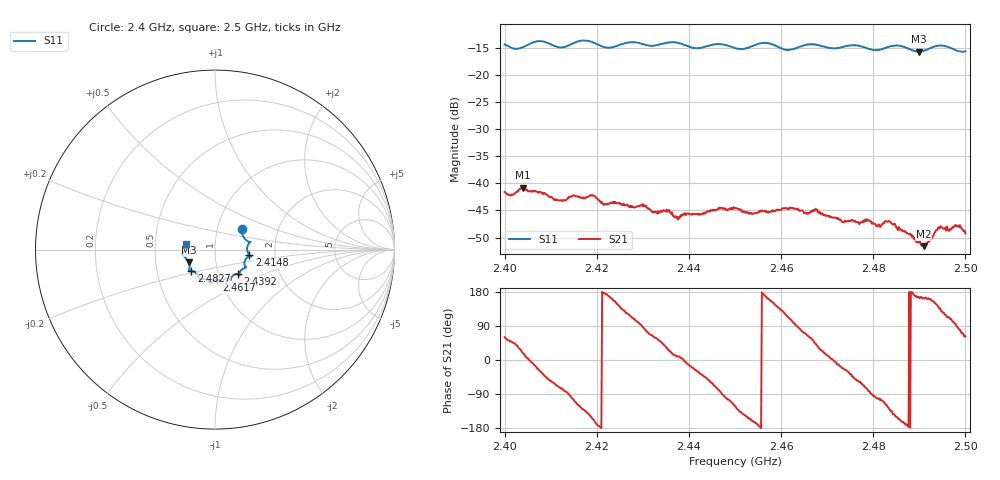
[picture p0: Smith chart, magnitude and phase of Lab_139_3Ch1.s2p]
# Hz S RI R 50
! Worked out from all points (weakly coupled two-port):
!   601 points, 2.4 GHz to 2.5 GHz, reference 50 ohm
!   highest |S21| = -40.83 dB at 2.404 GHz (marker M1); lowest = -51.6 dB at 2.491 GHz (marker M2)
!   lowest |S11| = -15.7 dB at 2.4898 GHz (marker M3), VSWR 1.39, Z = 36.9 - j5.38 ohm
!   |S11| at or under -10 dB: start of sweep to end of sweep
!   S12 and S22 are empty: the file has one direction only
!   S11 on the Smith chart (normalised r, x): 2.4 GHz: 1.31, +0.31; 2.4148 GHz: 1.47, -0.10; 2.4392 GHz: 1.24, -0.35; 2.4617 GHz: 0.96, -0.33; 2.4827 GHz: 0.75, -0.18; 2.5 GHz: 0.72, +0.05
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2.4e9  0.1514 0.1155  0.00413 0.00723  0 0  0 0
2.404e9  0.1712 0.0549  0.00863 0.00283  0 0  0 0
2.407667e9  0.1995 0.0434  0.00724 -0.00415  0 0  0 0
2.412e9  0.1786 0.00735  0.00207 -0.00664  0 0  0 0
2.414833e9  0.192 -0.0312  -0.00168 -0.00751  0 0  0 0
2.416667e9  0.2028 -0.0393  -0.0044 -0.00585  0 0  0 0
2.419167e9  0.1957 -0.0363  -0.0071 -0.00316  0 0  0 0
2.422333e9  0.1671 -0.0598  -0.00643 0.00105  0 0  0 0
2.433333e9  0.137 -0.1302  0.00328 0.00446  0 0  0 0
2.439167e9  0.1284 -0.1363  0.00523 -0.000368  0 0  0 0
2.45e9  0.071 -0.1616  -0.00312 -0.00506  0 0  0 0
2.456667e9  0.0436 -0.1918  -0.00529 0.00124  0 0  0 0
2.461667e9  0.00837 -0.1691  -0.00215 0.00534  0 0  0 0
2.466667e9  -0.0262 -0.1895  0.00311 0.00451  0 0  0 0
2.473667e9  -0.0768 -0.1648  0.004 -0.0018  0 0  0 0
2.482667e9  -0.132 -0.1176  -0.00208 -0.00396  0 0  0 0
2.483333e9  -0.1378 -0.117  -0.00266 -0.00362  0 0  0 0
2.489833e9  -0.1469 -0.071  -0.00281 0.000664  0 0  0 0
2.491e9  -0.1573 -0.0543  -0.00252 0.000753  0 0  0 0
2.4945e9  -0.1838 -0.0284  -0.00285 0.00269  0 0  0 0
2.498333e9  -0.1659 0.00187  0.000249 0.00398  0 0  0 0
2.5e9  -0.1616 0.0311  0.00159 0.00305  0 0  0 0
